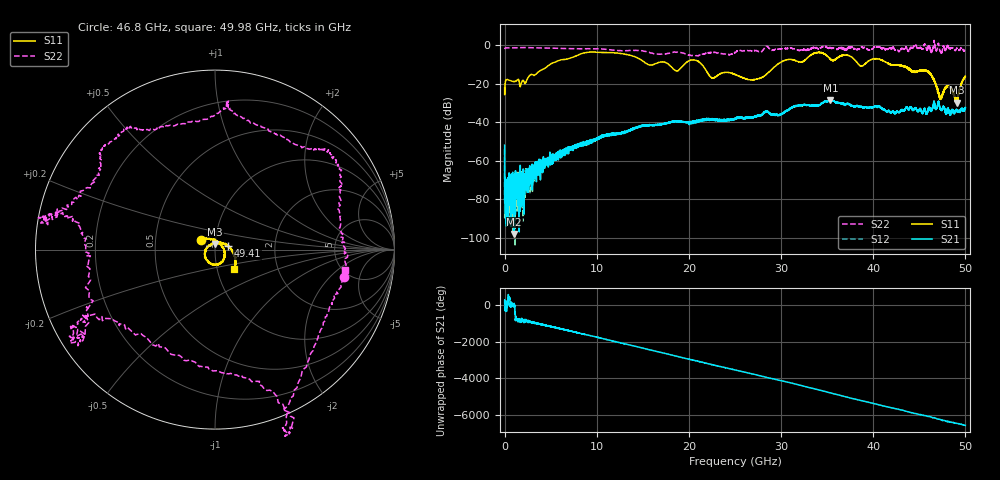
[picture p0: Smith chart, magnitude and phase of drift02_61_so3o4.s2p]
!Created with skrf (http://scikit-rf.org).
# Hz S RI R 50.0
!freq ReS11 ImS11 ReS21 ImS21 ReS12 ImS12 ReS22 ImS22
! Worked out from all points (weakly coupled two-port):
!   10001 points, 300 kHz to 50 GHz, reference 50 ohm
!   highest |S21| = -28.55 dB at 35.35 GHz (marker M1); lowest = -98.1 dB at 1.045 GHz (marker M2)
!   lowest |S11| = -29.9 dB at 49.08 GHz (marker M3), VSWR 1.07, Z = 50 + j3.19 ohm
!   |S11| at or under -10 dB: start of sweep to 4.956 GHz; 21.38 GHz to 29.63 GHz (8.246 GHz wide, 32.3 % of centre); 41.84 GHz to end of sweep (the widest 3 of 9)
!   |S22| runs from -5.7 to 2.4 dB; largest |S21 - S12| = 0.0029
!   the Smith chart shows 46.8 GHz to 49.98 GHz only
!   S11 on the Smith chart (normalised r, x): 46.8 GHz: 0.85, +0.09; 49.41 GHz: 1.16, +0.04; 49.98 GHz: 1.21, -0.26
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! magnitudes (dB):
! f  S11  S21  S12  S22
! 300 kHz  -22.4  -52.0  -54.0  -2.1
! 255.3 MHz  -17.9  -75.0  -72.8  -1.4
! 1.045 GHz  -18.9  -98.1  -69.2  -1.4
! 8.335 GHz  -4.5  -52.0  -51.7  -1.9
! 16.67 GHz  -9.1  -41.3  -41.4  -4.7
! 18.7 GHz  -13.5  -39.6  -39.6  -3.7
! 20.6 GHz  -7.7  -39.7  -39.9  -5.7
! 22.51 GHz  -17.1  -38.6  -38.6  -3.7
! 25 GHz  -15.2  -38.1  -38.6  -3.9
! 27.47 GHz  -17.6  -36.8  -36.6  -3.2
! 30.22 GHz  -8.3  -35.3  -35.2  -2.0
! 33.34 GHz  -4.9  -31.2  -31.3  -1.6
! 35.35 GHz  -7.2  -28.6  -28.8  -1.4
! 41.67 GHz  -9.6  -34.0  -34.2  -1.9
! 45.78 GHz  -13.4  -35.6  -35.6  -1.9
! 46.8 GHz  -20.4  -33.5  -32.9  -2.7
! 47.28 GHz  -27.3  -32.8  -33.0  -3.3
! 48.11 GHz  -21.5  -33.3  -32.9  -0.6
! 49.08 GHz  -29.9  -33.8  -33.9  -1.7
! 49.41 GHz  -22.4  -34.2  -34.1  -2.4
! 49.98 GHz  -16.5  -32.9  -32.7  -2.7
! 50 GHz  -16.4  -32.5  -33.1  -2.7
